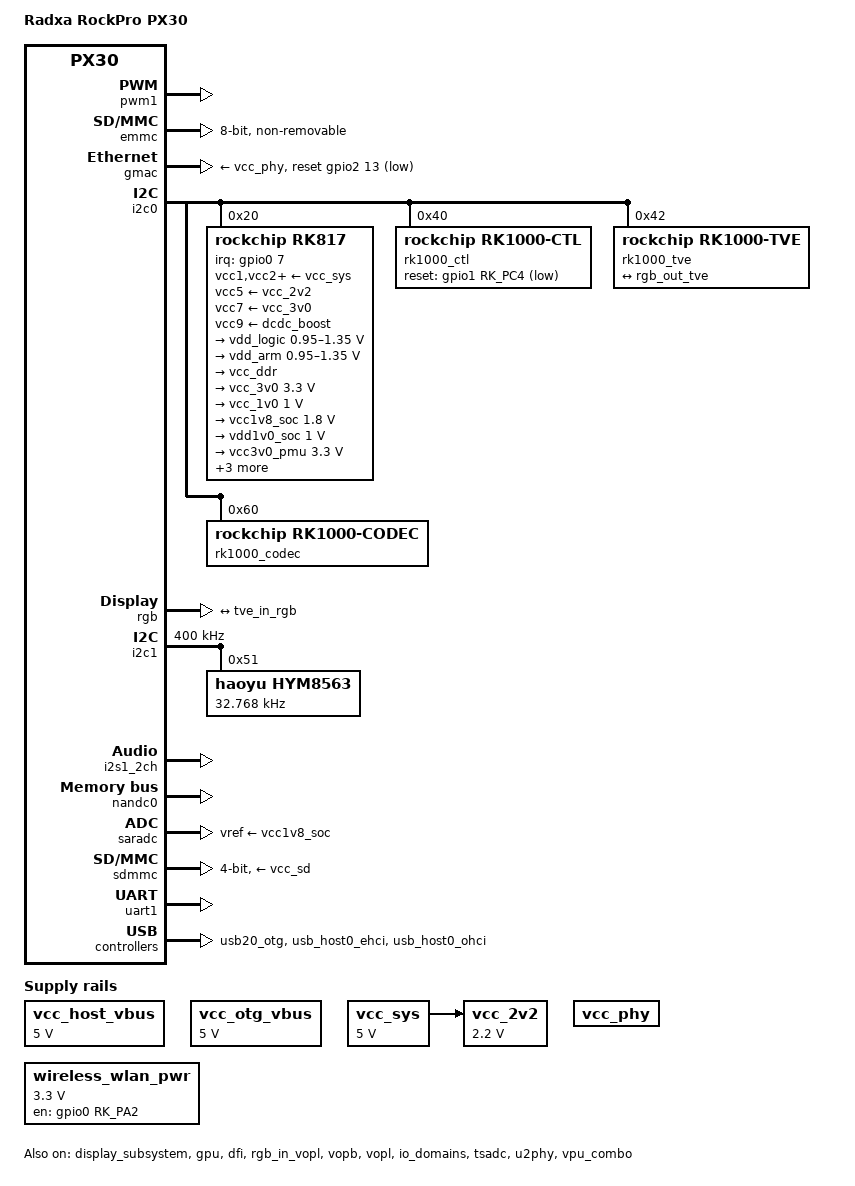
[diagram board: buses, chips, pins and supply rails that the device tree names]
// SPDX-License-Identifier: (GPL-2.0+ OR MIT)
/*
 * Copyright (c) 2018 Fuzhou Rockchip Electronics Co., Ltd
 */

/dts-v1/;
#include <dt-bindings/gpio/gpio.h>
#include <dt-bindings/pinctrl/rockchip.h>
#include <dt-bindings/input/input.h>
#include <dt-bindings/clock/rk618-cru.h>
#include <dt-bindings/display/drm_mipi_dsi.h>
#include <dt-bindings/sensor-dev.h>
#include "px30.dtsi"

/ {
	model = "Radxa RockPro PX30";
	compatible = "radxa,rockpro-px30", "rockchip,px30";

	ramoops: ramoops {
		compatible = "ramoops";
		record-size = <0x0 0x20000>;
		console-size = <0x0 0x80000>;
		ftrace-size = <0x0 0x00000>;
		pmsg-size = <0x0 0x00000>;
		memory-region = <&ramoops_mem>;
	};

	reserverd_memory: reserved-memory {
		#address-cells = <2>;
		#size-cells = <2>;
		ranges;

		drm_logo: drm-logo@00000000 {
			compatible = "rockchip,drm-logo";
			reg = <0x0 0x0 0x0 0x0>;
		};

		ramoops_mem: region@110000 {
			reg = <0x0 0x110000 0x0 0xf0000>;
			reg-names = "ramoops_mem";
		};
	};

/* 	backlight: backlight {
		status = "okay";
		compatible = "pwm-backlight";
		pwms = <&pwm1 0 25000 0>;
		brightness-levels = <
			  0   1   2   3   4   5   6   7
			  8   9  10  11  12  13  14  15
			 16  17  18  19  20  21  22  23
			 24  25  26  27  28  29  30  31
			 32  33  34  35  36  37  38  39
			 40  41  42  43  44  45  46  47
			 48  49  50  51  52  53  54  55
			 56  57  58  59  60  61  62  63
			 64  65  66  67  68  69  70  71
			 72  73  74  75  76  77  78  79
			 80  81  82  83  84  85  86  87
			 88  89  90  91  92  93  94  95
			 96  97  98  99 100 101 102 103
			104 105 106 107 108 109 110 111
			112 113 114 115 116 117 118 119
			120 121 122 123 124 125 126 127
			128 129 130 131 132 133 134 135
			136 137 138 139 140 141 142 143
			144 145 146 147 148 149 150 151
			152 153 154 155 156 157 158 159
			160 161 162 163 164 165 166 167
			168 169 170 171 172 173 174 175
			176 177 178 179 180 181 182 183
			184 185 186 187 188 189 190 191
			192 193 194 195 196 197 198 199
			200 201 202 203 204 205 206 207
			208 209 210 211 212 213 214 215
			216 217 218 219 220 221 222 223
			224 225 226 227 228 229 230 231
			232 233 234 235 236 237 238 239
			240 241 242 243 244 245 246 247
			248 249 250 251 252 253 254 255>;
		default-brightness-level = <200>;
	};

	panel {
		status = "okay";
		compatible = "simple-panel";
		backlight = <&backlight>;
		power-supply = <&vcc3v3_lcd>;
		//enable-gpios = <&gpio0 RK_PB5 GPIO_ACTIVE_LOW>;
		prepare-delay-ms = <120>;
		enable-delay-ms = <120>;
		disable-delay-ms = <120>;
		unprepare-delay-ms = <120>;
		bus-format = <MEDIA_BUS_FMT_RGB888_1X24>;
		width-mm = <231>;
		height-mm = <154>;

		display-timings {
			native-mode = <&timing1>;

			timing1: timing1 {
				clock-frequency = <72000000>;
				hactive = <1920>;
				vactive = <1080>;
				hback-porch = <60>;
				hfront-porch = <60>;
				vback-porch = <16>;
				vfront-porch = <16>;
				hsync-len = <40>;
				vsync-len = <6>;
				hsync-active = <0>;
				vsync-active = <0>;
				de-active = <0>;
				pixelclk-active = <0>;
			};
		};

		port {
			panel_in_hdmi: endpoint {
				remote-endpoint = <&hdmi_out_panel>;
			};
		};
	}; */

/*  	rk817_sound: rk817-sound {
		compatible = "simple-audio-card";
		simple-audio-card,format = "i2s";
		simple-audio-card,name = "rockchip,rk817-codec";
		simple-audio-card,mclk-fs = <256>;
		simple-audio-card,widgets =
			"Microphone", "Mic Jack",
			"Headphone", "Headphone Jack";
		simple-audio-card,routing =
			"Mic Jack", "MICBIAS1",
			"IN1P", "Mic Jack",
			"Headphone Jack", "HPOL",
			"Headphone Jack", "HPOR";
		simple-audio-card,cpu {
			sound-dai = <&i2s1_2ch>;
		};
		simple-audio-card,codec {
			sound-dai = <&rk817_codec>;
		};
	}; */

	rk1000_sound: rk1000-sound {
		compatible = "simple-audio-card";
		simple-audio-card,format = "i2s";
		simple-audio-card,name = "rockchip,rk1000-codec";
		simple-audio-card,mclk-fs = <256>;
		simple-audio-card,cpu {
			sound-dai = <&i2s1_2ch>;
		};
		simple-audio-card,codec {
			sound-dai = <&rk1000_codec>;
		};
	};

	vcc_host_vbus: host-vbus-regulator {
		compatible = "regulator-fixed";
		regulator-name = "vcc_host_vbus";
		regulator-min-microvolt = <5000000>;
		regulator-max-microvolt = <5000000>;
		regulator-always-on;
		regulator-boot-on;
		enable-active-high;
	};

	vcc_otg_vbus: otg-vbus-regulator {
		compatible = "regulator-fixed";
//		gpio = <&gpio0 RK_PB2 GPIO_ACTIVE_HIGH>;
//		pinctrl-names = "default";
//		pinctrl-0 = <&otg_vbus_drv>;
		regulator-name = "vcc_otg_vbus";
		regulator-min-microvolt = <5000000>;
		regulator-max-microvolt = <5000000>;
		regulator-always-on;
//		regulator-boot-on;
//		enable-active-high;
	};

	vcc_sys: vccsys {
		compatible = "regulator-fixed";
		regulator-name = "vcc_sys";
		regulator-always-on;
		regulator-boot-on;
		regulator-min-microvolt = <5000000>;
		regulator-max-microvolt = <5000000>;
	};

	vcc_2v2: vcc2v2 {
		compatible = "regulator-fixed";
		regulator-name = "vcc_2v2";
		regulator-always-on;
		regulator-boot-on;
		regulator-min-microvolt = <2200000>;
		regulator-max-microvolt = <2200000>;
		vin-supply = <&vcc_sys>;
	};

	vcc_phy: vcc-phy-regulator {
		compatible = "regulator-fixed";
		regulator-name = "vcc_phy";
		regulator-always-on;
		regulator-boot-on;
	};

	wireless_wlan_pwr: wireless-wlan-pwr {
		compatible = "regulator-fixed";
		gpio = <&gpio0 RK_PA2 GPIO_ACTIVE_HIGH>;
		pinctrl-names = "default";
		pinctrl-0 = <&wireless_wlan_pwren>;
		regulator-name = "wireless_wlan_pwr";
		regulator-min-microvolt = <3300000>;
		regulator-max-microvolt = <3300000>;
		enable-active-high;
		regulator-always-on;
		regulator-boot-on;
	};
};

&display_subsystem {
	status = "okay";
	ports = <&vopb_out>, <&vopl_out>;
	logo-memory-region = <&drm_logo>;

	route {
		route_lvds: route-lvds {
			status = "disabled";
			logo,uboot = "logo.bmp";
			logo,kernel = "logo_kernel.bmp";
			logo,mode = "center";
			charge_logo,mode = "center";
			connect = <&vopb_out_lvds>;
		};

		route_dsi: route-dsi {
			status = "disabled";
			logo,uboot = "logo.bmp";
			logo,kernel = "logo_kernel.bmp";
			logo,mode = "center";
			charge_logo,mode = "center";
			connect = <&vopb_out_dsi>;
		};

		route_rgb: route-rgb {
			status = "disabled";
			logo,uboot = "logo.bmp";
			logo,kernel = "logo_kernel.bmp";
			logo,mode = "center";
			charge_logo,mode = "center";
			connect = <&vopb_out_rgb>;
		};
	};
};

&pwm1 {
     status = "okay";
};

&bus_apll {
	bus-supply = <&vdd_logic>;
	status = "okay";
};

&cpu0 {
	cpu-supply = <&vdd_arm>;
};

&gpu {
	mali-supply = <&vdd_logic>;
	status = "okay";
};

&dfi {
	status = "okay";
};

&dmc {
	auto-freq-en = <0>;
	status = "disabled";
};

&emmc {
	bus-width = <8>;
	cap-mmc-highspeed;
	mmc-hs200-1_8v;
	supports-emmc;
	disable-wp;
	non-removable;
	num-slots = <1>;
	status = "okay";
};

&gmac {
	phy-supply = <&vcc_phy>;
	assigned-clocks = <&cru SCLK_GMAC>;
	assigned-clock-parents = <&gmac_clkin>;
	clock_in_out = "input";
	pinctrl-names = "default";
	pinctrl-0 = <&rmii_pins &mac_refclk>;
	snps,reset-gpio = <&gpio2 13 GPIO_ACTIVE_LOW>;
	snps,reset-active-low;
	snps,reset-delays-us = <0 50000 50000>;
	status = "okay";
};

&i2c0 {
	status = "okay";

	rk817: pmic@20 {
		compatible = "rockchip,rk817";
		reg = <0x20>;
		interrupt-parent = <&gpio0>;
		interrupts = <7 IRQ_TYPE_LEVEL_LOW>;
		pinctrl-names = "default", "pmic-sleep";
				//"pmic-power-off", "pmic-reset";
		pinctrl-0 = <&pmic_int>;
		pinctrl-1 = <&soc_slppin_slp>, <&rk817_slppin_slp>;
		//pinctrl-2 = <&soc_slppin_gpio>, <&rk817_slppin_pwrdn>;
		//pinctrl-3 = <&soc_slppin_rst>, <&rk817_slppin_rst>;
		rockchip,system-power-controller;
		wakeup-source;
		#clock-cells = <1>;
		clock-output-names = "rk808-clkout1", "rk808-clkout2";
		//fb-inner-reg-idxs = <2>;
		/* 1: rst regs (default in codes), 0: rst the pmic */
		pmic-reset-func = <1>;

		vcc1-supply = <&vcc_sys>;
		vcc2-supply = <&vcc_sys>;
		vcc3-supply = <&vcc_sys>;
		vcc4-supply = <&vcc_sys>;
		vcc5-supply = <&vcc_2v2>;
		vcc6-supply = <&vcc_sys>;
		vcc7-supply = <&vcc_3v0>;
		vcc8-supply = <&vcc_sys>;
		vcc9-supply = <&dcdc_boost>;

		pinctrl_rk8xx: pinctrl_rk8xx {
			gpio-controller;
			#gpio-cells = <2>;

			rk817_ts_gpio1: rk817_ts_gpio1 {
				pins = "gpio_ts";
				function = "pin_fun1";
				/* output-low; */
				/* input-enable; */
			};

			rk817_gt_gpio2: rk817_gt_gpio2 {
				pins = "gpio_gt";
				function = "pin_fun1";
			};

			rk817_pin_ts: rk817_pin_ts {
				pins = "gpio_ts";
				function = "pin_fun0";
			};

			rk817_pin_gt: rk817_pin_gt {
				pins = "gpio_gt";
				function = "pin_fun0";
			};

			rk817_slppin_null: rk817_slppin_null {
				pins = "gpio_slp";
				function = "pin_fun0";
			};

			rk817_slppin_slp: rk817_slppin_slp {
				pins = "gpio_slp";
				function = "pin_fun1";
			};

			rk817_slppin_pwrdn: rk817_slppin_pwrdn {
				pins = "gpio_slp";
				function = "pin_fun2";
			};

			rk817_slppin_rst: rk817_slppin_rst {
				pins = "gpio_slp";
				function = "pin_fun3";
			};
		};

		regulators {
			vdd_logic: DCDC_REG1 {
				regulator-always-on;
				regulator-boot-on;
				regulator-min-microvolt = <950000>;
				regulator-max-microvolt = <1350000>;
				regulator-ramp-delay = <6001>;
				regulator-initial-mode = <0x2>;
				regulator-name = "vdd_logic";
				regulator-state-mem {
					regulator-on-in-suspend;
					regulator-suspend-microvolt = <950000>;
				};
			};

			vdd_arm: DCDC_REG2 {
				regulator-always-on;
				regulator-boot-on;
				regulator-min-microvolt = <950000>;
				regulator-max-microvolt = <1350000>;
				regulator-ramp-delay = <6001>;
				regulator-initial-mode = <0x2>;
				regulator-name = "vdd_arm";
				regulator-state-mem {
					regulator-off-in-suspend;
					regulator-suspend-microvolt = <950000>;
				};
			};

			vcc_ddr: DCDC_REG3 {
				regulator-always-on;
				regulator-boot-on;
				regulator-initial-mode = <0x2>;
				regulator-name = "vcc_ddr";
				regulator-state-mem {
					regulator-on-in-suspend;
				};
			};

			vcc_3v0: DCDC_REG4 {
				regulator-always-on;
				regulator-boot-on;
				regulator-min-microvolt = <3300000>;
				regulator-max-microvolt = <3300000>;
				regulator-initial-mode = <0x2>;
				regulator-name = "vcc_3v0";
				regulator-state-mem {
					regulator-off-in-suspend;
					regulator-suspend-microvolt = <3300000>;
				};
			};

			vcc_1v0: LDO_REG1 {
				regulator-always-on;
				regulator-boot-on;
				regulator-min-microvolt = <1000000>;
				regulator-max-microvolt = <1000000>;
				regulator-name = "vcc_1v0";
				regulator-state-mem {
					regulator-off-in-suspend;
					regulator-suspend-microvolt = <1000000>;
				};
			};

			vcc1v8_soc: LDO_REG2 {
				regulator-always-on;
				regulator-boot-on;
				regulator-min-microvolt = <1800000>;
				regulator-max-microvolt = <1800000>;
				regulator-name = "vcc1v8_soc";
				regulator-state-mem {
					regulator-on-in-suspend;
					regulator-suspend-microvolt = <1800000>;
				};
			};

			vdd1v0_soc: LDO_REG3 {
				regulator-always-on;
				regulator-boot-on;
				regulator-min-microvolt = <1000000>;
				regulator-max-microvolt = <1000000>;
				regulator-name = "vdd1v0_soc";
				regulator-state-mem {
					regulator-on-in-suspend;
					regulator-suspend-microvolt = <1000000>;
				};
			};

			vcc3v0_pmu: LDO_REG4 {
				regulator-always-on;
				regulator-boot-on;
				regulator-min-microvolt = <3300000>;
				regulator-max-microvolt = <3300000>;
				regulator-name = "vcc3v0_pmu";
				regulator-state-mem {
					regulator-on-in-suspend;
					regulator-suspend-microvolt = <3300000>;
				};
			};

			vccio_sd: LDO_REG5 {
				regulator-always-on;
				regulator-boot-on;
				regulator-min-microvolt = <1800000>;
				regulator-max-microvolt = <3300000>;
				regulator-name = "vccio_sd";
				regulator-state-mem {
					regulator-off-in-suspend;
					regulator-suspend-microvolt = <3300000>;
				};
			};

			vcc_sd: LDO_REG6 {
				regulator-always-on;
				regulator-boot-on;
				regulator-min-microvolt = <3300000>;
				regulator-max-microvolt = <3300000>;
				regulator-name = "vcc_sd";
				regulator-state-mem {
					regulator-on-in-suspend;
					regulator-suspend-microvolt = <3300000>;
				};
			};

			vcc2v8_dvp: LDO_REG7 {
				regulator-boot-on;
				regulator-min-microvolt = <2800000>;
				regulator-max-microvolt = <2800000>;
				regulator-name = "vcc2v8_dvp";
				regulator-state-mem {
					regulator-off-in-suspend;
					regulator-suspend-microvolt = <2800000>;
				};
			};

			vcc1v8_dvp: LDO_REG8 {
				regulator-boot-on;
				regulator-min-microvolt = <1800000>;
				regulator-max-microvolt = <1800000>;
				regulator-name = "vcc1v8_dvp";
				regulator-state-mem {
					regulator-off-in-suspend;
					regulator-suspend-microvolt = <1800000>;
				};
			};

			vcc3v3_lcd: LDO_REG9 {
				regulator-boot-on;
				regulator-min-microvolt = <3300000>;
				regulator-max-microvolt = <3300000>;
				regulator-name = "vdd3v3_lcd";
				regulator-state-mem {
					regulator-off-in-suspend;
					regulator-suspend-microvolt = <3300000>;
				};
			};

			dcdc_boost: BOOST {
				regulator-always-on;
				regulator-boot-on;
				regulator-min-microvolt = <4700000>;
				regulator-max-microvolt = <5400000>;
				regulator-name = "boost";
			};

			otg_switch: OTG_SWITCH {
				regulator-boot-on;
				regulator-name = "otg_switch";
			};
		};
	
		rk817_pwrkey: pwrkey {
			status = "okay";
		};

		rk817_rtc: rtc {
			 status = "okay";
		};

		rk817_battery: battery {
			compatible = "rk817,battery";
			ocv_table = <3500 3548 3592 3636 3687 3740 3780
				3806 3827 3846 3864 3889 3929 3964
				3993 4015 4030 4041 4056 4076 4148>;
			design_capacity = <4200>;
			design_qmax = <4300>;
			bat_res = <100>;
			sleep_enter_current = <150>;
			sleep_exit_current = <180>;
			sleep_filter_current = <100>;
			power_off_thresd = <3500>;
			zero_algorithm_vol = <3950>;
			max_soc_offset = <60>;
			monitor_sec = <5>; 
			sample_res = <10>;
			bat_res_up = <140>;
			bat_res_down = <20>;
			virtual_power = <0>; 
			//full-led-gpios = <&gpio0 RK_PC0 GPIO_ACTIVE_HIGH>;
			//charge-led-gpios = <&gpio0 RK_PA0 GPIO_ACTIVE_LOW>;
		};

		rk817_charger: charger {
			compatible = "rk817,charger";
			min_input_voltage = <4500>;
			max_input_current = <1500>;
			max_chrg_current = <2000>;
			max_chrg_voltage = <4200>;
			chrg_term_mode = <0>; 
			chrg_finish_cur = <300>;
			virtual_power = <0>; 
			dc_det_adc = <0>; 
			extcon = <&u2phy>;
		};

/* 		rk817_codec: codec {
			#sound-dai-cells = <0>;
			compatible = "rockchip,rk817-codec";
			clocks = <&cru SCLK_I2S1_OUT>;
			clock-names = "mclk";
			pinctrl-names = "default";
			pinctrl-0 = <&i2s1_2ch_mclk>;
			hp-volume = <20>;
			spk-volume = <20>;
			mic-in-differential;
			status = "okay";
		}; */
	};

/* 	rk618: rk618@50 {
		compatible = "rockchip,rk618";
		reg = <0x50>;
		pinctrl-names = "default";
		pinctrl-0 = <&i2s1_2ch_mclk>;
		clocks = <&cru SCLK_I2S1_OUT>;
		clock-names = "clkin";
		assigned-clocks = <&cru SCLK_I2S1_OUT>;
		assigned-clock-rates = <12000000>;
		reset-gpios = <&gpio0 RK_PA0 GPIO_ACTIVE_LOW>;
		status = "okay";

		clock: cru {
			compatible = "rockchip,rk618-cru";
			clocks = <&cru SCLK_I2S1_OUT>, <&cru DCLK_VOPL>;
			clock-names = "clkin", "lcdc0_dclkp";
			assigned-clocks = <&clock SCALER_PLLIN_CLK>,
					  <&clock VIF_PLLIN_CLK>,
					  <&clock SCALER_CLK>,
					  <&clock VIF0_PRE_CLK>,
					  <&clock CODEC_CLK>,
					  <&clock DITHER_CLK>;
			assigned-clock-parents = <&cru SCLK_I2S1_OUT>,
						 <&clock LCDC0_CLK>,
						 <&clock SCALER_PLL_CLK>,
						 <&clock VIF_PLL_CLK>,
						 <&cru SCLK_I2S1_OUT>,
						 <&clock VIF0_CLK>;
			#clock-cells = <1>;
			status = "okay";
		};

		hdmi {
			compatible = "rockchip,rk618-hdmi";
			clocks = <&clock HDMI_CLK>;
			clock-names = "hdmi";
			assigned-clocks = <&clock HDMI_CLK>;
			assigned-clock-parents = <&clock VIF0_CLK>;
			interrupt-parent = <&gpio2>;
			interrupts = <12 IRQ_TYPE_LEVEL_HIGH>;
			status = "okay";

			ports {
				#address-cells = <1>;
				#size-cells = <0>;

				port@0 {
					reg = <0>;

					hdmi_in_rgb: endpoint {
						remote-endpoint = <&rgb_out_hdmi>;
					};
				};

				port@1 {
					#address-cells = <1>;
					#size-cells = <0>;

					hdmi_out_panel: endpoint {
						reg = <0>;
						remote-endpoint = <&panel_in_hdmi>;
					};
				};
			};
		};
	}; */

	rk1000_ctl: rk1000-ctl@40 {
		status = "okay";
		compatible = "rockchip,rk1000-ctl";
		reg = <0x40>;
		reset-gpios = <&gpio1 RK_PC4 GPIO_ACTIVE_LOW>;
		clocks = <&cru SCLK_I2S1_OUT>;
		clock-names = "mclk";
		pinctrl-names = "default";
		pinctrl-0 = <&i2s1_2ch_mclk>;
	};

	rk1000_tve: rk1000-tve@42 {
		status = "okay";
		compatible = "rockchip,rk1000-tve";
		reg = <0x42>;
		rockchip,data-width = <24>;
		rockchip,output = "rgb";
		rockchip,tvemode = <1>; //0 for PAL, 1 for NTSC
		rockchip,ctl = <&rk1000_ctl>;
		#address-cells = <1>;
		#size-cells = <0>;

		tve_in: port@0 {
			reg = <0>;

			tve_in_rgb: endpoint {
				remote-endpoint = <&rgb_out_tve>;
			};
		};
	};

	rk1000_codec: rk1000-codec@60 {
		compatible = "rockchip,rk1000-codec";
		reg = <0x60>;
		#sound-dai-cells = <0>;
		rockchip,ctl = <&rk1000_ctl>;
		//rockchip,spk-en-gpio = <&gpio3 31 GPIO_ACTIVE_LOW>;
		rockchip,pa-en-time-ms = <5000>;
		status = "okay";
	};
};

&rgb {
	status = "okay";

	ports {
		port@1 {
			reg = <1>;

			rgb_out_tve: endpoint {
				remote-endpoint = <&tve_in_rgb>;
			};
		};
	};
};

/* &rgb {
	status = "okay";

	ports {
		port@1 {
			reg = <1>;

			rgb_out_hdmi: endpoint {
				remote-endpoint = <&hdmi_in_rgb>;
			};
		};
	};
}; */

&route_rgb {
	connect = <&vopl_out_rgb>;
	status = "okay";
};

&rgb_in_vopb {
	status = "disabled";
};

&rgb_in_vopl {
	status = "okay";
};

&vopb {
	status = "okay";
};

&vopb_mmu {
	status = "okay";
};

&vopl {
	status = "okay";
};

&vopl_mmu {
	status = "okay";
};

&i2c1 {
	status = "okay";
	clock-frequency = <400000>;

	hym8563: hym8563@51 {
		compatible = "haoyu,hym8563";
		reg = <0x51>;
		#clock-cells = <0>;
		clock-frequency = <32768>;
		clock-output-names = "xin32k";
		/* rtc_int is not connected */
	};
};

&i2s1_2ch {
	status = "okay";
	#sound-dai-cells = <0>;
};

&nandc0 {
	status = "okay";
};

&io_domains {
	status = "okay";

	vccio1-supply = <&vcc1v8_soc>;
	vccio2-supply = <&vccio_sd>;
	vccio3-supply = <&vcc_3v0>;
	vccio4-supply = <&vcc3v0_pmu>;
	vccio5-supply = <&vcc_3v0>;
	vccio6-supply = <&vcc1v8_soc>;
};

&pmu_io_domains {
	status = "okay";

	pmuio1-supply = <&vcc3v0_pmu>;
	pmuio2-supply = <&vcc3v0_pmu>;
};

&rockchip_suspend {
	status = "okay";
	rockchip,sleep-debug-en = <1>;
};

&saradc {
	status = "okay";
	vref-supply = <&vcc1v8_soc>;
};

&tsadc {
	pinctrl-names = "gpio", "otpout";
	pinctrl-0 = <&tsadc_otp_gpio>;
	pinctrl-1 = <&tsadc_otp_out>;
	status = "okay";
};

&sdmmc {
	bus-width = <4>;
	cap-mmc-highspeed;
	cap-sd-highspeed;
	supports-sd;
	card-detect-delay = <800>;
	ignore-pm-notify;
	/*cd-gpios = <&gpio2 4 GPIO_ACTIVE_HIGH>; [> CD GPIO <]*/
	sd-uhs-sdr12;
	sd-uhs-sdr25;
	sd-uhs-sdr50;
	sd-uhs-sdr104;
	vqmmc-supply = <&vccio_sd>;
	vmmc-supply = <&vcc_sd>;
	status = "okay";
};

&uart1 {
	status = "okay";
};

&u2phy {
	status = "okay";
	//vbus-supply = <&vcc_otg_vbus>;

	u2phy_host: host-port {
		status = "okay";
		//phy-supply = <&vcc_host_vbus>;
	};

	u2phy_otg: otg-port {
		status = "okay";
		phy-supply = <&vcc_otg_vbus>;
	};
};

&usb20_otg {
	status = "okay";
};

&usb_host0_ehci {
	status = "okay";
};

&usb_host0_ohci {
	status = "okay";
};

&vpu_combo {
	status = "okay";
};

&pinctrl {
	pmic {
		pmic_int: pmic_int {
			rockchip,pins =
				<0 RK_PA7 RK_FUNC_GPIO &pcfg_pull_up>;
		};

		soc_slppin_gpio: soc_slppin_gpio {
			rockchip,pins =
				<0 RK_PA4 RK_FUNC_GPIO &pcfg_output_low>;
		};

		soc_slppin_slp: soc_slppin_slp {
			rockchip,pins =
				<0 RK_PA4 RK_FUNC_1 &pcfg_pull_none>;
		};

		soc_slppin_rst: soc_slppin_rst {
			rockchip,pins =
				<0 RK_PA4 RK_FUNC_2 &pcfg_pull_none>;
		};
	};

    usb {
		otg_vbus_drv: otg-vbus-drv {
			rockchip,pins =
				<0 RK_PB2 RK_FUNC_GPIO &pcfg_pull_none>;
		};
	};

	wireless {
		wireless_wlan_pwren: wireless-wlan-pwren {
			rockchip,pins =
				<0 RK_PA2 RK_FUNC_GPIO &pcfg_pull_none>;
		};
	};
};

/* DON'T PUT ANYTHING BELOW HERE.  PUT IT ABOVE PINCTRL */
/* DON'T PUT ANYTHING BELOW HERE.  PUT IT ABOVE PINCTRL */
/* DON'T PUT ANYTHING BELOW HERE.  PUT IT ABOVE PINCTRL */
